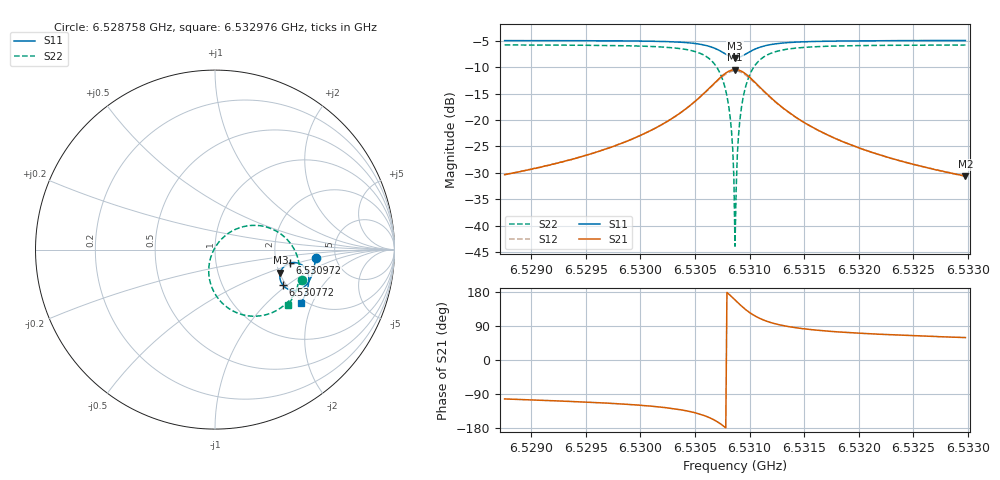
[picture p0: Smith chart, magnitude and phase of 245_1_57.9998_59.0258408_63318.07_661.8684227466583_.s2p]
#  HZ  S  RI  R  50.00
! Rohde & Schwarz Vector Network Analyzer
! Rohde-Schwarz,ZNB20-2Port,1311601062101988,3.16
! Created: UTC 3/21/2024, 1:01:13 AM
! freq[Hz]  re:S11  im:S11  re:S21  im:S21  re:S12  im:S12  re:S22  im:S22
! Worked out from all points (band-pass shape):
!   401 points, 6.528758 GHz to 6.532976 GHz, reference 50 ohm
!   highest |S21| = -10.47 dB at 6.530867 GHz (marker M1); lowest = -30.6 dB at 6.532976 GHz (marker M2)
!   |S21| within 3 dB of the highest: 6.530657 GHz to 6.531078 GHz (421.5 kHz wide, 0.00645 % of centre)
!   lowest |S11| = -8.3 dB at 6.530867 GHz (marker M3), VSWR 2.26, Z = 101 - j30.5 ohm
!   |S11| at or under -10 dB: nowhere
!   |S22| runs from -43.9 to -5.8 dB; largest |S21 - S12| = 0.012
!   S11 on the Smith chart (normalised r, x): 6.528758 GHz: 3.49, -0.49; 6.530772 GHz: 1.92, -0.92; 6.530972 GHz: 2.38, -0.43; 6.532976 GHz: 1.89, -1.65
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6.5287578e9  0.5602 -0.0475  -0.0067 -0.0296  -0.00732 -0.0295  0.4833 -0.1676
6.5294643e9  0.5512 -0.106  -0.0159 -0.0422  -0.0168 -0.0419  0.4525 -0.2315
6.5301708e9  0.5242 -0.1759  -0.0487 -0.0725  -0.0507 -0.0712  0.3723 -0.3206
6.5305925e9  0.4554 -0.2264  -0.1539 -0.0982  -0.1562 -0.092  0.1703 -0.3667
6.530698e9  0.4113 -0.2221  -0.2218 -0.0728  -0.2212 -0.0635  0.056 -0.3122
6.5307718e9  0.3768 -0.1959  -0.2722 -0.0159  -0.2666 -0.00593  -0.0186 -0.2076
6.5308034e9  0.3661 -0.1764  -0.2856 0.0218  -0.2778 0.0305  -0.0339 -0.1428
6.5308245e9  0.3621 -0.1611  -0.2889 0.0504  -0.2797 0.0576  -0.034 -0.0954
6.5308351e9  0.3614 -0.153  -0.2886 0.065  -0.2788 0.0716  -0.0308 -0.071
6.5308456e9  0.3614 -0.1446  -0.2868 0.08  -0.2767 0.0858  -0.0251 -0.0473
6.5308562e9  0.3623 -0.1364  -0.2836 0.0949  -0.273 0.0996  -0.0169 -0.0235
6.5308667e9  0.3642 -0.1281  -0.2788 0.1094  -0.268 0.1132  -0.00636 -0.00084
6.5308772e9  0.367 -0.1202  -0.2724 0.1233  -0.2619 0.1262  0.00629 0.0209
6.5308878e9  0.3705 -0.1127  -0.265 0.1366  -0.2543 0.1385  0.021 0.0412
6.5308983e9  0.3747 -0.1056  -0.2563 0.1489  -0.2458 0.1498  0.0374 0.0596
6.5309194e9  0.3853 -0.0931  -0.2357 0.1703  -0.2263 0.1697  0.0745 0.0908
6.5309721e9  0.4173 -0.0748  -0.177 0.2018  -0.1703 0.1992  0.177 0.1318
6.531046e9  0.4594 -0.0746  -0.1034 0.2044  -0.0999 0.2013  0.3006 0.1213
6.5311514e9  0.4964 -0.0961  -0.0399 0.1742  -0.0382 0.1726  0.4027 0.0553
6.5315732e9  0.5228 -0.1751  0.015 0.0842  0.016 0.0839  0.4722 -0.1332
6.5322797e9  0.5045 -0.247  0.0173 0.0405  0.0181 0.0402  0.4429 -0.2482
6.5329756e9  0.4784 -0.2991  0.0151 0.0253  0.0157 0.0252  0.4078 -0.3081
